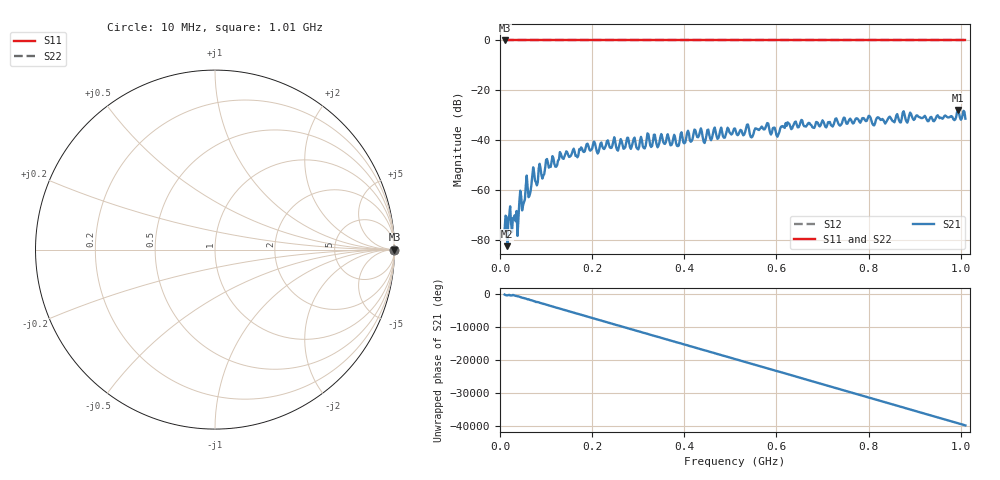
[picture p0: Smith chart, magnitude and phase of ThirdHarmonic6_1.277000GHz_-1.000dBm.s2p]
! 8/16/2025 1:52:05 PM
! C:\ANRITSUVNA\TEMP\TEMP.S2P
! CHANNEL.1
! TR.MEASUREMENT
! RAW.DATA
! RF.CORRECTION.OFF
! AVERAGING.OFF
! IF.BANDWIDTH: 5KHZ
! SWEEPTYPE:  FREQ.SWEEP(Linear)
! Reference Plane Port Info
! PORT:  PORT1  PORT2
! DISTANCE:  0  m  0  m
! TIME:  0  s  0  s
! PHASE.OFFSET:  0  deg.  0  deg.
! LOSS:  0  dB  0  dB
! REF.LOSS:  0  dB  0  dB
! REF.FREQ:  0  Hz  0  Hz
! Power Info
! POWER:  -20  dBm  -20  dBm
! EFF.POWER:  -20  dBm  -20  dBm
! SOURCE.ATTEN:  0  dB  0  dB
! TEST.ATTEN:  0  dB  0  dB
# GHZ S RI R 50.0
! FREQ.GHZ  S11RE  S11IM  S21RE  S21IM  S12RE  S12IM  S22RE  S22IM
!; PortSelection: Port_12
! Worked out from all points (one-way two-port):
!   501 points, 10 MHz to 1.01 GHz, reference 50 ohm
!   highest |S21| = -27.90 dB at 994 MHz (marker M1); lowest = -82.6 dB at 16 MHz (marker M2)
!   lowest |S11| = 0.0 dB at 10 MHz (marker M3)
!   |S11| at or under -10 dB: nowhere
!   |S22| runs from 0.0 to 0.0 dB; largest |S21 - S12| = 1
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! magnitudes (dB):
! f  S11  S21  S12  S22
! 10 MHz  0.0  -76.2  0.0  0.0
! 16 MHz  0.0  -82.6  0.0  0.0
! 36 MHz  0.0  -68.5  0.0  0.0
! 46 MHz  0.0  -62.6  0.0  0.0
! 64 MHz  0.0  -62.3  0.0  0.0
! 72 MHz  0.0  -50.9  0.0  0.0
! 78 MHz  0.0  -56.9  0.0  0.0
! 102 MHz  0.0  -47.6  0.0  0.0
! 178 MHz  0.0  -43.4  0.0  0.0
! 314 MHz  0.0  -43.4  0.0  0.0
! 322 MHz  0.0  -37.6  0.0  0.0
! 344 MHz  0.0  -42.2  0.0  0.0
! 510 MHz  0.0  -35.4  0.0  0.0
! 536 MHz  0.0  -33.8  0.0  0.0
! 546 MHz  0.0  -38.9  0.0  0.0
! 580 MHz  0.0  -33.2  0.0  0.0
! 602 MHz  0.0  -38.7  0.0  0.0
! 624 MHz  0.0  -32.9  0.0  0.0
! 678 MHz  0.0  -34.9  0.0  0.0
! 844 MHz  0.0  -30.8  0.0  0.0
! 994 MHz  0.0  -27.9  0.0  0.0
! 1.01 GHz  0.0  -31.4  0.0  0.0
